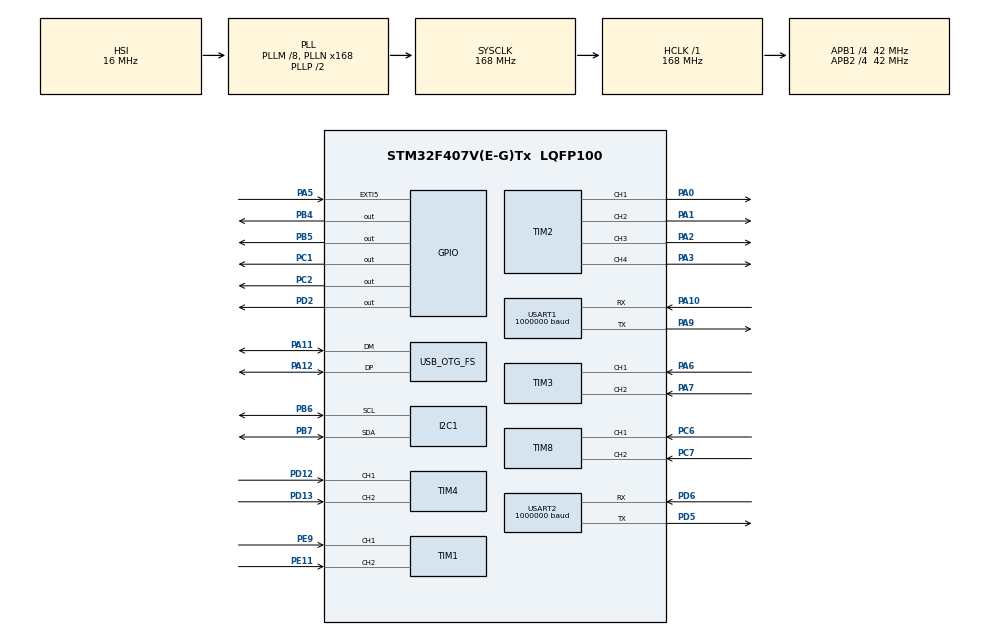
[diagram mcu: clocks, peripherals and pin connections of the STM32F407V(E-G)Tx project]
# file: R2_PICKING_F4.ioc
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Dma.Request0=USART1_RX
Dma.Request1=USART1_TX
Dma.Request2=USART2_TX
Dma.Request3=USART2_RX
Dma.USART1_RX.0.Direction=DMA_PERIPH_TO_MEMORY
Dma.USART1_RX.0.FIFOMode=DMA_FIFOMODE_DISABLE
Dma.USART1_RX.0.Instance=DMA2_Stream2
Dma.USART1_RX.0.MemDataAlignment=DMA_MDATAALIGN_BYTE
Dma.USART1_RX.0.MemInc=DMA_MINC_ENABLE
Dma.USART1_RX.0.Mode=DMA_NORMAL
Dma.USART1_RX.0.PeriphDataAlignment=DMA_PDATAALIGN_BYTE
Dma.USART1_RX.0.PeriphInc=DMA_PINC_DISABLE
Dma.USART1_RX.0.Priority=DMA_PRIORITY_LOW
Dma.USART1_TX.1.Direction=DMA_MEMORY_TO_PERIPH
Dma.USART1_TX.1.FIFOMode=DMA_FIFOMODE_DISABLE
Dma.USART1_TX.1.Instance=DMA2_Stream7
Dma.USART1_TX.1.MemDataAlignment=DMA_MDATAALIGN_BYTE
Dma.USART1_TX.1.MemInc=DMA_MINC_ENABLE
Dma.USART1_TX.1.Mode=DMA_NORMAL
Dma.USART1_TX.1.PeriphDataAlignment=DMA_PDATAALIGN_BYTE
Dma.USART1_TX.1.PeriphInc=DMA_PINC_DISABLE
Dma.USART1_TX.1.Priority=DMA_PRIORITY_LOW
Dma.USART2_RX.3.Direction=DMA_PERIPH_TO_MEMORY
Dma.USART2_RX.3.FIFOMode=DMA_FIFOMODE_DISABLE
Dma.USART2_RX.3.Instance=DMA1_Stream5
Dma.USART2_RX.3.MemDataAlignment=DMA_MDATAALIGN_BYTE
Dma.USART2_RX.3.MemInc=DMA_MINC_ENABLE
Dma.USART2_RX.3.Mode=DMA_NORMAL
Dma.USART2_RX.3.PeriphDataAlignment=DMA_PDATAALIGN_BYTE
Dma.USART2_RX.3.PeriphInc=DMA_PINC_DISABLE
Dma.USART2_RX.3.Priority=DMA_PRIORITY_LOW
Dma.USART2_TX.2.Direction=DMA_MEMORY_TO_PERIPH
Dma.USART2_TX.2.FIFOMode=DMA_FIFOMODE_DISABLE
Dma.USART2_TX.2.Instance=DMA1_Stream6
Dma.USART2_TX.2.MemDataAlignment=DMA_MDATAALIGN_BYTE
Dma.USART2_TX.2.MemInc=DMA_MINC_ENABLE
Dma.USART2_TX.2.Mode=DMA_NORMAL
Dma.USART2_TX.2.PeriphDataAlignment=DMA_PDATAALIGN_BYTE
Dma.USART2_TX.2.PeriphInc=DMA_PINC_DISABLE
Dma.USART2_TX.2.Priority=DMA_PRIORITY_LOW
Mcu.Family=STM32F4
Mcu.Name=STM32F407V(E-G)Tx
Mcu.Package=LQFP100
NVIC.DMA1_Stream5_IRQn=true\:0\:0\:false\:false\:true\:false\:true\:true
NVIC.DMA1_Stream6_IRQn=true\:0\:0\:false\:false\:true\:false\:true\:true
NVIC.DMA2_Stream2_IRQn=true\:0\:0\:false\:false\:true\:false\:true\:true
NVIC.DMA2_Stream7_IRQn=true\:0\:0\:false\:false\:true\:false\:true\:true
NVIC.OTG_FS_IRQn=true\:0\:0\:false\:false\:true\:false\:true\:true
NVIC.PriorityGroup=NVIC_PRIORITYGROUP_4
NVIC.TIM6_DAC_IRQn=true\:0\:0\:false\:false\:true\:true\:true\:true
NVIC.USART1_IRQn=true\:0\:0\:false\:false\:true\:true\:true\:true
NVIC.USART2_IRQn=true\:0\:0\:false\:false\:true\:true\:true\:true
PA0-WKUP.Signal=S_TIM2_CH1_ETR
PA1.Signal=S_TIM2_CH2
PA10.Mode=Asynchronous
PA10.Signal=USART1_RX
PA11.Mode=Device_Only
PA11.Signal=USB_OTG_FS_DM
PA12.Mode=Device_Only
PA12.Signal=USB_OTG_FS_DP
PA2.Signal=S_TIM2_CH3
PA3.Signal=S_TIM2_CH4
PA5.Signal=GPXTI5
PA6.Signal=S_TIM3_CH1
PA7.Signal=S_TIM3_CH2
PA9.Mode=Asynchronous
PA9.Signal=USART1_TX
PB4.Signal=GPIO_Output
PB5.Signal=GPIO_Output
PB6.Mode=I2C
PB6.Signal=I2C1_SCL
PB7.Mode=I2C
PB7.Signal=I2C1_SDA
PC1.Signal=GPIO_Output
PC14-OSC32_IN.Mode=LSE-External-Oscillator
PC14-OSC32_IN.Signal=RCC_OSC32_IN
PC15-OSC32_OUT.Mode=LSE-External-Oscillator
PC15-OSC32_OUT.Signal=RCC_OSC32_OUT
PC2.Signal=GPIO_Output
PC6.Signal=S_TIM8_CH1
PC7.Signal=S_TIM8_CH2
PD12.Signal=S_TIM4_CH1
PD13.Signal=S_TIM4_CH2
PD2.Signal=GPIO_Output
PD5.Mode=Asynchronous
PD5.Signal=USART2_TX
PD6.Mode=Asynchronous
PD6.Signal=USART2_RX
PE11.Signal=S_TIM1_CH2
PE9.Signal=S_TIM1_CH1
PH0-OSC_IN.Mode=HSE-External-Oscillator
PH0-OSC_IN.Signal=RCC_OSC_IN
PH1-OSC_OUT.Mode=HSE-External-Oscillator
PH1-OSC_OUT.Signal=RCC_OSC_OUT
ProjectManager.HeapSize=0x200
ProjectManager.StackSize=0x400
ProjectManager.TargetToolchain=STM32CubeIDE
RCC.48MHZClocksFreq_Value=48000000
RCC.AHBFreq_Value=168000000
RCC.APB1CLKDivider=RCC_HCLK_DIV4
RCC.APB1Freq_Value=42000000
RCC.APB1TimFreq_Value=84000000
RCC.APB2CLKDivider=RCC_HCLK_DIV4
RCC.APB2Freq_Value=42000000
RCC.APB2TimFreq_Value=84000000
RCC.CortexFreq_Value=168000000
RCC.HCLKFreq_Value=168000000
RCC.HSE_VALUE=8000000
RCC.HSI_VALUE=16000000
RCC.PLLM=8
RCC.PLLN=168
RCC.PLLQ=7
RCC.PLLSource=RCC_PLLSOURCE_HSI
RCC.PLLSourceVirtualString=RCC_PLLSOURCE_HSI
RCC.SYSCLKFreq_VALUE=168000000
RCC.SYSCLKSource=RCC_SYSCLKSOURCE_PLLCLK
RCC.VCOOutputFreq_Value=336000000
SH.S_TIM1_CH1.0=TIM1_CH1,Encoder_Interface
SH.S_TIM1_CH2.0=TIM1_CH2,Encoder_Interface
SH.S_TIM2_CH1_ETR.0=TIM2_CH1,PWM Generation1 CH1
SH.S_TIM2_CH2.0=TIM2_CH2,PWM Generation2 CH2
SH.S_TIM2_CH3.0=TIM2_CH3,PWM Generation3 CH3
SH.S_TIM2_CH4.0=TIM2_CH4,PWM Generation4 CH4
SH.S_TIM3_CH1.0=TIM3_CH1,Encoder_Interface
SH.S_TIM3_CH2.0=TIM3_CH2,Encoder_Interface
SH.S_TIM4_CH1.0=TIM4_CH1,Encoder_Interface
SH.S_TIM4_CH2.0=TIM4_CH2,Encoder_Interface
SH.S_TIM8_CH1.0=TIM8_CH1,Encoder_Interface
SH.S_TIM8_CH2.0=TIM8_CH2,Encoder_Interface
TIM2.Channel-PWM\ Generation1\ CH1=TIM_CHANNEL_1
TIM2.Channel-PWM\ Generation2\ CH2=TIM_CHANNEL_2
TIM2.Channel-PWM\ Generation3\ CH3=TIM_CHANNEL_3
TIM2.Channel-PWM\ Generation4\ CH4=TIM_CHANNEL_4
TIM6.Period=1000
TIM6.Prescaler=84 -1
USART1.BaudRate=1000000
USART1.VirtualMode=VM_ASYNC
USART2.BaudRate=1000000
USART2.VirtualMode=VM_ASYNC
USB_DEVICE.CLASS_NAME_FS=CDC
USB_DEVICE.VirtualMode-CDC_FS=Cdc
USB_DEVICE.VirtualModeFS=Cdc_FS
USB_OTG_FS.VirtualMode=Device_Only
VP_TIM2_VS_ClockSourceINT.Mode=Internal
VP_TIM6_VS_ClockSourceINT.Mode=Enable_Timer
VP_USB_DEVICE_VS_USB_DEVICE_CDC_FS.Mode=CDC_FS
board=custom

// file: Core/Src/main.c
/* USER CODE BEGIN Header */
/**
  ******************************************************************************
  * @file           : main.c
  * @brief          : Main program body
  ******************************************************************************
  * @attention
  *
  * Copyright (c) 2026 STMicroelectronics.
  * All rights reserved.
  *
  * This software is licensed under terms that can be found in the LICENSE file
  * in the root directory of this software component.
  * If no LICENSE file comes with this software, it is provided AS-IS.
  *
  ******************************************************************************
  */
/* USER CODE END Header */
#include "main.h"
#include "usb_device.h"

/* USER CODE BEGIN Includes */
#include "usbd_cdc_if.h" // For CDC_Transmit_FS
#include <string.h>      // For strlen()
#include "STEP_SERVO.h"
/* USER CODE END Includes */

I2C_HandleTypeDef hi2c1;

TIM_HandleTypeDef htim1;
TIM_HandleTypeDef htim2;
TIM_HandleTypeDef htim3;
TIM_HandleTypeDef htim4;
TIM_HandleTypeDef htim6;
TIM_HandleTypeDef htim8;

UART_HandleTypeDef huart1;
UART_HandleTypeDef huart2;
DMA_HandleTypeDef hdma_usart1_rx;
DMA_HandleTypeDef hdma_usart1_tx;
DMA_HandleTypeDef hdma_usart2_tx;
DMA_HandleTypeDef hdma_usart2_rx;

/* USER CODE BEGIN PV */
extern volatile uint8_t base_tx_ready;
extern volatile uint8_t wrist_tx_ready;

typedef enum {
    MANUAL_MODE,
    AUTO_MODE
} RobotState;

RobotState current_mode = MANUAL_MODE;
uint8_t last_rx_data = 0;
uint16_t dev = 0;

// --- OUR NEW COMMS FLAGS ---
extern volatile uint8_t new_cmd_flag;
extern volatile uint8_t active_cmd;
/* USER CODE END PV */

void SystemClock_Config(void);
static void MX_GPIO_Init(void);
static void MX_DMA_Init(void);
static void MX_I2C1_Init(void);
static void MX_TIM2_Init(void);
static void MX_USART1_UART_Init(void);
static void MX_TIM1_Init(void);
static void MX_TIM3_Init(void);
static void MX_TIM4_Init(void);
static void MX_TIM6_Init(void);
static void MX_TIM8_Init(void);
static void MX_USART2_UART_Init(void);

int main(void)
{

  /* MCU Configuration--------------------------------------------------------*/

  /* Reset of all peripherals, Initializes the Flash interface and the Systick. */
  HAL_Init();

  /* Configure the system clock */
  SystemClock_Config();

  /* U
   * SER CODE BEGIN SysInit */

  /* USER CODE END SysInit */

  /* Initialize all configured peripherals */
  MX_GPIO_Init();
  MX_DMA_Init();
  MX_USB_DEVICE_Init();
  MX_I2C1_Init();
  MX_TIM2_Init();
  MX_USART1_UART_Init();
  MX_TIM1_Init();
  MX_TIM3_Init();
  MX_TIM4_Init();
  MX_TIM6_Init();
  MX_TIM8_Init();
  MX_USART2_UART_Init();
  /* USER CODE BEGIN 2 */
  //HAL_UART_Receive_DMA(&huart3, ps4_rx_buffer, 25);
  //Stepper_Init(&htim1);
  printf("\r\n=== System Booting ===\r\n");
  Scan_I2C_Bus();
  HAL_TIM_PWM_Start(&htim2, TIM_CHANNEL_1); // Rear Left
  HAL_TIM_PWM_Start(&htim2, TIM_CHANNEL_2); // Rear Right
  HAL_TIM_PWM_Start(&htim2, TIM_CHANNEL_3); // Front Left
  HAL_TIM_PWM_Start(&htim2, TIM_CHANNEL_4); // Front Right
  HAL_Delay(100);
  HAL_TIM_Encoder_Start(&htim1, TIM_CHANNEL_ALL);
  HAL_TIM_Encoder_Start(&htim3, TIM_CHANNEL_ALL);
  HAL_TIM_Encoder_Start(&htim4, TIM_CHANNEL_ALL);
  HAL_TIM_Encoder_Start(&htim8, TIM_CHANNEL_ALL);
  HAL_Delay(100);
  //static uint8_t last_macro_button = 0;
  // 1. Wait 2 seconds for Windows/Linux to fully enumerate the COM port
  //AL_Delay(5000);
  VL53L1X_MultiBoot();
  printf("=== Sensor Ready! Defaulting to MANUAL MODE ===\r\n");
  //printf("Testing sensor 0x%02X ID...\r\n", TOF_RACK_FRONT);
  SERVO_BOOT(&huart1, &huart2);
  //uint16_t id = 0;

    // 2. Send the connection acknowledgment
    //char boot_msg[] = "\r\n==========================================\r\n"
                      //"[STM32]: SYSTEM BOOT COMPLETE.\r\n"
                      //"[STM32]: Native USB Link Established.\r\n"
                      //"[STM32]: Awaiting Commands...\r\n"
                      //"==========================================\r\n";

   // CDC_Transmit_FS((uint8_t*)boot_msg, strlen(boot_msg));
  /* USER CODE END 2 */

  /* Infinite loop */
  /* USER CODE BEGIN WHILE */
  while (1)
  {
      uint8_t current_cmd = active_cmd;

      if (current_cmd != 0 && current_cmd != '0') {

          active_cmd = 0;

          // ---------------------------------------------------------
          // EMERGENCY STOP — highest priority, checked before anything
          // ---------------------------------------------------------
          if (current_cmd == 'Z') {
              Mechanum_DriveStraight(0);  // kill motors immediately
              STS_WritePosition(&huart1, 0, 0, 0);  // stop all servos if applicable
              current_mode = MANUAL_MODE;  // drop back to manual so no auto resumes

              char estop_msg[] = "\r\n!!! EMERGENCY STOP TRIGGERED (USB) !!!\r\n";
              CDC_Transmit_FS((uint8_t*)estop_msg, strlen(estop_msg));

              // Clear active_cmd again just in case
              active_cmd = 0;
              continue;  // skip rest of loop, don't execute anything else
          }

          // ---------------------------------------------------------
          // MASTER TOGGLE
          // ---------------------------------------------------------
          if (current_cmd == 'm' || current_cmd == 'M') {
              if (current_mode == MANUAL_MODE) {
                  current_mode = AUTO_MODE;
                  STS_CalibrateEnvironment();

                  char mode_msg[] = "\r\n--- SWITCHED TO AUTO MODE ---\r\n";
                  CDC_Transmit_FS((uint8_t*)mode_msg, strlen(mode_msg));
              } else {
                  current_mode = MANUAL_MODE;

                  char mode_msg2[] = "\r\n--- SWITCHED TO MANUAL MODE ---\r\n";
                  CDC_Transmit_FS((uint8_t*)mode_msg2, strlen(mode_msg2));
              }
          }

          // ---------------------------------------------------------
          // EXECUTE ACTIVE MODE
          // ---------------------------------------------------------
          else {
              if (current_mode == MANUAL_MODE) {
                  STS_JogCommand(&huart1, &huart2, current_cmd);
              }
              else if (current_mode == AUTO_MODE) {
                  if (current_cmd >= '1' && current_cmd <= '4') {
                      STS_AutoPickCommand(&huart1, &huart2, current_cmd);
                  }
              }
          }
      }

      HAL_Delay(5);
  }
  /* USER CODE END 3 */
}

void SystemClock_Config(void)
{
  RCC_OscInitTypeDef RCC_OscInitStruct = {0};
  RCC_ClkInitTypeDef RCC_ClkInitStruct = {0};

  /** Configure the main internal regulator output voltage
  */
  __HAL_RCC_PWR_CLK_ENABLE();
  __HAL_PWR_VOLTAGESCALING_CONFIG(PWR_REGULATOR_VOLTAGE_SCALE1);

  /** Initializes the RCC Oscillators according to the specified parameters
  * in the RCC_OscInitTypeDef structure.
  */
  RCC_OscInitStruct.OscillatorType = RCC_OSCILLATORTYPE_HSI;
  RCC_OscInitStruct.HSIState = RCC_HSI_ON;
  RCC_OscInitStruct.HSICalibrationValue = RCC_HSICALIBRATION_DEFAULT;
  RCC_OscInitStruct.PLL.PLLState = RCC_PLL_ON;
  RCC_OscInitStruct.PLL.PLLSource = RCC_PLLSOURCE_HSI;
  RCC_OscInitStruct.PLL.PLLM = 8;
  RCC_OscInitStruct.PLL.PLLN = 168;
  RCC_OscInitStruct.PLL.PLLP = RCC_PLLP_DIV2;
  RCC_OscInitStruct.PLL.PLLQ = 7;
  if (HAL_RCC_OscConfig(&RCC_OscInitStruct) != HAL_OK)
  {
    Error_Handler();
  }

  /** Initializes the CPU, AHB and APB buses clocks
  */
  RCC_ClkInitStruct.ClockType = RCC_CLOCKTYPE_HCLK|RCC_CLOCKTYPE_SYSCLK
                              |RCC_CLOCKTYPE_PCLK1|RCC_CLOCKTYPE_PCLK2;
  RCC_ClkInitStruct.SYSCLKSource = RCC_SYSCLKSOURCE_PLLCLK;
  RCC_ClkInitStruct.AHBCLKDivider = RCC_SYSCLK_DIV1;
  RCC_ClkInitStruct.APB1CLKDivider = RCC_HCLK_DIV4;
  RCC_ClkInitStruct.APB2CLKDivider = RCC_HCLK_DIV4;

  if (HAL_RCC_ClockConfig(&RCC_ClkInitStruct, FLASH_LATENCY_5) != HAL_OK)
  {
    Error_Handler();
  }
}

static void MX_I2C1_Init(void)
{

  hi2c1.Instance = I2C1;
  hi2c1.Init.ClockSpeed = 100000;
  hi2c1.Init.DutyCycle = I2C_DUTYCYCLE_2;
  hi2c1.Init.OwnAddress1 = 0;
  hi2c1.Init.AddressingMode = I2C_ADDRESSINGMODE_7BIT;
  hi2c1.Init.DualAddressMode = I2C_DUALADDRESS_DISABLE;
  hi2c1.Init.OwnAddress2 = 0;
  hi2c1.Init.GeneralCallMode = I2C_GENERALCALL_DISABLE;
  hi2c1.Init.NoStretchMode = I2C_NOSTRETCH_DISABLE;
  if (HAL_I2C_Init(&hi2c1) != HAL_OK)
  {
    Error_Handler();
  }

}

static void MX_TIM1_Init(void)
{

  TIM_Encoder_InitTypeDef sConfig = {0};
  TIM_MasterConfigTypeDef sMasterConfig = {0};

  htim1.Instance = TIM1;
  htim1.Init.Prescaler = 0;
  htim1.Init.CounterMode = TIM_COUNTERMODE_UP;
  htim1.Init.Period = 65535;
  htim1.Init.ClockDivision = TIM_CLOCKDIVISION_DIV1;
  htim1.Init.RepetitionCounter = 0;
  htim1.Init.AutoReloadPreload = TIM_AUTORELOAD_PRELOAD_DISABLE;
  sConfig.EncoderMode = TIM_ENCODERMODE_TI1;
  sConfig.IC1Polarity = TIM_ICPOLARITY_RISING;
  sConfig.IC1Selection = TIM_ICSELECTION_DIRECTTI;
  sConfig.IC1Prescaler = TIM_ICPSC_DIV1;
  sConfig.IC1Filter = 0;
  sConfig.IC2Polarity = TIM_ICPOLARITY_RISING;
  sConfig.IC2Selection = TIM_ICSELECTION_DIRECTTI;
  sConfig.IC2Prescaler = TIM_ICPSC_DIV1;
  sConfig.IC2Filter = 0;
  if (HAL_TIM_Encoder_Init(&htim1, &sConfig) != HAL_OK)
  {
    Error_Handler();
  }
  sMasterConfig.MasterOutputTrigger = TIM_TRGO_RESET;
  sMasterConfig.MasterSlaveMode = TIM_MASTERSLAVEMODE_DISABLE;
  if (HAL_TIMEx_MasterConfigSynchronization(&htim1, &sMasterConfig) != HAL_OK)
  {
    Error_Handler();
  }

}

static void MX_TIM2_Init(void)
{

  TIM_ClockConfigTypeDef sClockSourceConfig = {0};
  TIM_MasterConfigTypeDef sMasterConfig = {0};
  TIM_OC_InitTypeDef sConfigOC = {0};

  htim2.Instance = TIM2;
  htim2.Init.Prescaler = 0;
  htim2.Init.CounterMode = TIM_COUNTERMODE_UP;
  htim2.Init.Period = 4294967295;
  htim2.Init.ClockDivision = TIM_CLOCKDIVISION_DIV1;
  htim2.Init.AutoReloadPreload = TIM_AUTORELOAD_PRELOAD_DISABLE;
  if (HAL_TIM_Base_Init(&htim2) != HAL_OK)
  {
    Error_Handler();
  }
  sClockSourceConfig.ClockSource = TIM_CLOCKSOURCE_INTERNAL;
  if (HAL_TIM_ConfigClockSource(&htim2, &sClockSourceConfig) != HAL_OK)
  {
    Error_Handler();
  }
  if (HAL_TIM_PWM_Init(&htim2) != HAL_OK)
  {
    Error_Handler();
  }
  sMasterConfig.MasterOutputTrigger = TIM_TRGO_RESET;
  sMasterConfig.MasterSlaveMode = TIM_MASTERSLAVEMODE_DISABLE;
  if (HAL_TIMEx_MasterConfigSynchronization(&htim2, &sMasterConfig) != HAL_OK)
  {
    Error_Handler();
  }
  sConfigOC.OCMode = TIM_OCMODE_PWM1;
  sConfigOC.Pulse = 0;
  sConfigOC.OCPolarity = TIM_OCPOLARITY_HIGH;
  sConfigOC.OCFastMode = TIM_OCFAST_DISABLE;
  if (HAL_TIM_PWM_ConfigChannel(&htim2, &sConfigOC, TIM_CHANNEL_1) != HAL_OK)
  {
    Error_Handler();
  }
  if (HAL_TIM_PWM_ConfigChannel(&htim2, &sConfigOC, TIM_CHANNEL_2) != HAL_OK)
  {
    Error_Handler();
  }
  if (HAL_TIM_PWM_ConfigChannel(&htim2, &sConfigOC, TIM_CHANNEL_3) != HAL_OK)
  {
    Error_Handler();
  }
  if (HAL_TIM_PWM_ConfigChannel(&htim2, &sConfigOC, TIM_CHANNEL_4) != HAL_OK)
  {
    Error_Handler();
  }
  HAL_TIM_MspPostInit(&htim2);

}

static void MX_TIM3_Init(void)
{

  TIM_Encoder_InitTypeDef sConfig = {0};
  TIM_MasterConfigTypeDef sMasterConfig = {0};

  htim3.Instance = TIM3;
  htim3.Init.Prescaler = 0;
  htim3.Init.CounterMode = TIM_COUNTERMODE_UP;
  htim3.Init.Period = 65535;
  htim3.Init.ClockDivision = TIM_CLOCKDIVISION_DIV1;
  htim3.Init.AutoReloadPreload = TIM_AUTORELOAD_PRELOAD_DISABLE;
  sConfig.EncoderMode = TIM_ENCODERMODE_TI1;
  sConfig.IC1Polarity = TIM_ICPOLARITY_RISING;
  sConfig.IC1Selection = TIM_ICSELECTION_DIRECTTI;
  sConfig.IC1Prescaler = TIM_ICPSC_DIV1;
  sConfig.IC1Filter = 0;
  sConfig.IC2Polarity = TIM_ICPOLARITY_RISING;
  sConfig.IC2Selection = TIM_ICSELECTION_DIRECTTI;
  sConfig.IC2Prescaler = TIM_ICPSC_DIV1;
  sConfig.IC2Filter = 0;
  if (HAL_TIM_Encoder_Init(&htim3, &sConfig) != HAL_OK)
  {
    Error_Handler();
  }
  sMasterConfig.MasterOutputTrigger = TIM_TRGO_RESET;
  sMasterConfig.MasterSlaveMode = TIM_MASTERSLAVEMODE_DISABLE;
  if (HAL_TIMEx_MasterConfigSynchronization(&htim3, &sMasterConfig) != HAL_OK)
  {
    Error_Handler();
  }

}

static void MX_TIM4_Init(void)
{

  TIM_Encoder_InitTypeDef sConfig = {0};
  TIM_MasterConfigTypeDef sMasterConfig = {0};

  htim4.Instance = TIM4;
  htim4.Init.Prescaler = 0;
  htim4.Init.CounterMode = TIM_COUNTERMODE_UP;
  htim4.Init.Period = 65535;
  htim4.Init.ClockDivision = TIM_CLOCKDIVISION_DIV1;
  htim4.Init.AutoReloadPreload = TIM_AUTORELOAD_PRELOAD_DISABLE;
  sConfig.EncoderMode = TIM_ENCODERMODE_TI1;
  sConfig.IC1Polarity = TIM_ICPOLARITY_RISING;
  sConfig.IC1Selection = TIM_ICSELECTION_DIRECTTI;
  sConfig.IC1Prescaler = TIM_ICPSC_DIV1;
  sConfig.IC1Filter = 0;
  sConfig.IC2Polarity = TIM_ICPOLARITY_RISING;
  sConfig.IC2Selection = TIM_ICSELECTION_DIRECTTI;
  sConfig.IC2Prescaler = TIM_ICPSC_DIV1;
  sConfig.IC2Filter = 0;
  if (HAL_TIM_Encoder_Init(&htim4, &sConfig) != HAL_OK)
  {
    Error_Handler();
  }
  sMasterConfig.MasterOutputTrigger = TIM_TRGO_RESET;
  sMasterConfig.MasterSlaveMode = TIM_MASTERSLAVEMODE_DISABLE;
  if (HAL_TIMEx_MasterConfigSynchronization(&htim4, &sMasterConfig) != HAL_OK)
  {
    Error_Handler();
  }

}

static void MX_TIM6_Init(void)
{

  TIM_MasterConfigTypeDef sMasterConfig = {0};

  htim6.Instance = TIM6;
  htim6.Init.Prescaler = 84 -1;
  htim6.Init.CounterMode = TIM_COUNTERMODE_UP;
  htim6.Init.Period = 1000;
  htim6.Init.AutoReloadPreload = TIM_AUTORELOAD_PRELOAD_DISABLE;
  if (HAL_TIM_Base_Init(&htim6) != HAL_OK)
  {
    Error_Handler();
  }
  sMasterConfig.MasterOutputTrigger = TIM_TRGO_RESET;
  sMasterConfig.MasterSlaveMode = TIM_MASTERSLAVEMODE_DISABLE;
  if (HAL_TIMEx_MasterConfigSynchronization(&htim6, &sMasterConfig) != HAL_OK)
  {
    Error_Handler();
  }

}

static void MX_TIM8_Init(void)
{

  TIM_Encoder_InitTypeDef sConfig = {0};
  TIM_MasterConfigTypeDef sMasterConfig = {0};

  htim8.Instance = TIM8;
  htim8.Init.Prescaler = 0;
  htim8.Init.CounterMode = TIM_COUNTERMODE_UP;
  htim8.Init.Period = 65535;
  htim8.Init.ClockDivision = TIM_CLOCKDIVISION_DIV1;
  htim8.Init.RepetitionCounter = 0;
  htim8.Init.AutoReloadPreload = TIM_AUTORELOAD_PRELOAD_DISABLE;
  sConfig.EncoderMode = TIM_ENCODERMODE_TI1;
  sConfig.IC1Polarity = TIM_ICPOLARITY_RISING;
  sConfig.IC1Selection = TIM_ICSELECTION_DIRECTTI;
  sConfig.IC1Prescaler = TIM_ICPSC_DIV1;
  sConfig.IC1Filter = 0;
  sConfig.IC2Polarity = TIM_ICPOLARITY_RISING;
  sConfig.IC2Selection = TIM_ICSELECTION_DIRECTTI;
  sConfig.IC2Prescaler = TIM_ICPSC_DIV1;
  sConfig.IC2Filter = 0;
  if (HAL_TIM_Encoder_Init(&htim8, &sConfig) != HAL_OK)
  {
    Error_Handler();
  }
  sMasterConfig.MasterOutputTrigger = TIM_TRGO_RESET;
  sMasterConfig.MasterSlaveMode = TIM_MASTERSLAVEMODE_DISABLE;
  if (HAL_TIMEx_MasterConfigSynchronization(&htim8, &sMasterConfig) != HAL_OK)
  {
    Error_Handler();
  }

}

static void MX_USART1_UART_Init(void)
{

  huart1.Instance = USART1;
  huart1.Init.BaudRate = 1000000;
  huart1.Init.WordLength = UART_WORDLENGTH_8B;
  huart1.Init.StopBits = UART_STOPBITS_1;
  huart1.Init.Parity = UART_PARITY_NONE;
  huart1.Init.Mode = UART_MODE_TX_RX;
  huart1.Init.HwFlowCtl = UART_HWCONTROL_NONE;
  huart1.Init.OverSampling = UART_OVERSAMPLING_16;
  if (HAL_UART_Init(&huart1) != HAL_OK)
  {
    Error_Handler();
  }

}

static void MX_USART2_UART_Init(void)
{

  huart2.Instance = USART2;
  huart2.Init.BaudRate = 1000000;
  huart2.Init.WordLength = UART_WORDLENGTH_8B;
  huart2.Init.StopBits = UART_STOPBITS_1;
  huart2.Init.Parity = UART_PARITY_NONE;
  huart2.Init.Mode = UART_MODE_TX_RX;
  huart2.Init.HwFlowCtl = UART_HWCONTROL_NONE;
  huart2.Init.OverSampling = UART_OVERSAMPLING_16;
  if (HAL_UART_Init(&huart2) != HAL_OK)
  {
    Error_Handler();
  }

}

static void MX_DMA_Init(void)
{

  /* DMA controller clock enable */
  __HAL_RCC_DMA2_CLK_ENABLE();
  __HAL_RCC_DMA1_CLK_ENABLE();

  /* DMA interrupt init */
  /* DMA1_Stream5_IRQn interrupt configuration */
  HAL_NVIC_SetPriority(DMA1_Stream5_IRQn, 0, 0);
  HAL_NVIC_EnableIRQ(DMA1_Stream5_IRQn);
  /* DMA1_Stream6_IRQn interrupt configuration */
  HAL_NVIC_SetPriority(DMA1_Stream6_IRQn, 0, 0);
  HAL_NVIC_EnableIRQ(DMA1_Stream6_IRQn);
  /* DMA2_Stream2_IRQn interrupt configuration */
  HAL_NVIC_SetPriority(DMA2_Stream2_IRQn, 0, 0);
  HAL_NVIC_EnableIRQ(DMA2_Stream2_IRQn);
  /* DMA2_Stream7_IRQn interrupt configuration */
  HAL_NVIC_SetPriority(DMA2_Stream7_IRQn, 0, 0);
  HAL_NVIC_EnableIRQ(DMA2_Stream7_IRQn);

}

static void MX_GPIO_Init(void)
{
  GPIO_InitTypeDef GPIO_InitStruct = {0};

  /* GPIO Ports Clock Enable */
  __HAL_RCC_GPIOC_CLK_ENABLE();
  __HAL_RCC_GPIOH_CLK_ENABLE();
  __HAL_RCC_GPIOA_CLK_ENABLE();
  __HAL_RCC_GPIOE_CLK_ENABLE();
  __HAL_RCC_GPIOD_CLK_ENABLE();
  __HAL_RCC_GPIOB_CLK_ENABLE();

  /*Configure GPIO pin Output Level */
  HAL_GPIO_WritePin(GPIOC, GPIO_PIN_1|GPIO_PIN_2, GPIO_PIN_RESET);

  /*Configure GPIO pin Output Level */
  HAL_GPIO_WritePin(GPIOD, GPIO_PIN_2, GPIO_PIN_RESET);

  /*Configure GPIO pin Output Level */
  HAL_GPIO_WritePin(GPIOB, GPIO_PIN_4|GPIO_PIN_5, GPIO_PIN_RESET);

  /*Configure GPIO pins : PC1 PC2 */
  GPIO_InitStruct.Pin = GPIO_PIN_1|GPIO_PIN_2;
  GPIO_InitStruct.Mode = GPIO_MODE_OUTPUT_PP;
  GPIO_InitStruct.Pull = GPIO_NOPULL;
  GPIO_InitStruct.Speed = GPIO_SPEED_FREQ_LOW;
  HAL_GPIO_Init(GPIOC, &GPIO_InitStruct);

  /*Configure GPIO pin : PA5 */
  GPIO_InitStruct.Pin = GPIO_PIN_5;
  GPIO_InitStruct.Mode = GPIO_MODE_IT_RISING;
  GPIO_InitStruct.Pull = GPIO_NOPULL;
  HAL_GPIO_Init(GPIOA, &GPIO_InitStruct);

  /*Configure GPIO pin : PD2 */
  GPIO_InitStruct.Pin = GPIO_PIN_2;
  GPIO_InitStruct.Mode = GPIO_MODE_OUTPUT_PP;
  GPIO_InitStruct.Pull = GPIO_NOPULL;
  GPIO_InitStruct.Speed = GPIO_SPEED_FREQ_LOW;
  HAL_GPIO_Init(GPIOD, &GPIO_InitStruct);

  /*Configure GPIO pins : PB4 PB5 */
  GPIO_InitStruct.Pin = GPIO_PIN_4|GPIO_PIN_5;
  GPIO_InitStruct.Mode = GPIO_MODE_OUTPUT_PP;
  GPIO_InitStruct.Pull = GPIO_NOPULL;
  GPIO_InitStruct.Speed = GPIO_SPEED_FREQ_LOW;
  HAL_GPIO_Init(GPIOB, &GPIO_InitStruct);

}

void Error_Handler(void)
{
  __disable_irq();
  while (1)
  {
  }
}
